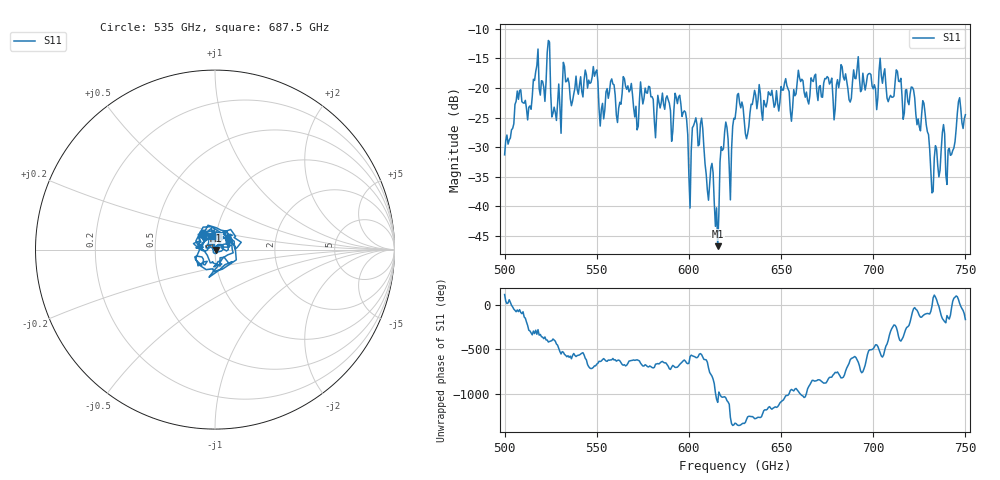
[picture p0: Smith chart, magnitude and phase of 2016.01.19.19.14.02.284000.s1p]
!Created with skrf (http://scikit-rf.org).
# GHz S RI R 50.0
!freq ReS11 ImS11
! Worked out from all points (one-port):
!   401 points, 500 GHz to 750 GHz, reference 50 ohm
!   lowest |S11| = -46.8 dB at 615.6 GHz (marker M1), VSWR 1.01, Z = 50.4 - j0.135 ohm
!   |S11| at or under -10 dB: start of sweep to end of sweep
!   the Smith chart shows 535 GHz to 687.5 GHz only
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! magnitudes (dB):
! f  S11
! 500 GHz  -31.3
! 507.5 GHz  -21.9
! 513.8 GHz  -23.0
! 516.9 GHz  -17.2
! 520.6 GHz  -18.9
! 523.8 GHz  -12.0
! 526.9 GHz  -23.2
! 531.2 GHz  -20.4
! 548.8 GHz  -18.0
! 552.5 GHz  -23.6
! 558.1 GHz  -18.5
! 562.5 GHz  -22.4
! 593.8 GHz  -22.6
! 600 GHz  -35.0
! 603.1 GHz  -25.8
! 606.9 GHz  -25.1
! 615.6 GHz  -46.8
! 618.8 GHz  -30.3
! 622.5 GHz  -38.9
! 625 GHz  -25.2
! 656.2 GHz  -23.4
! 660.6 GHz  -18.9
! 687.5 GHz  -22.4
! 690.6 GHz  -18.4
! 718.8 GHz  -22.3
! 728.1 GHz  -24.3
! 731.9 GHz  -37.8
! 750 GHz  -24.5
